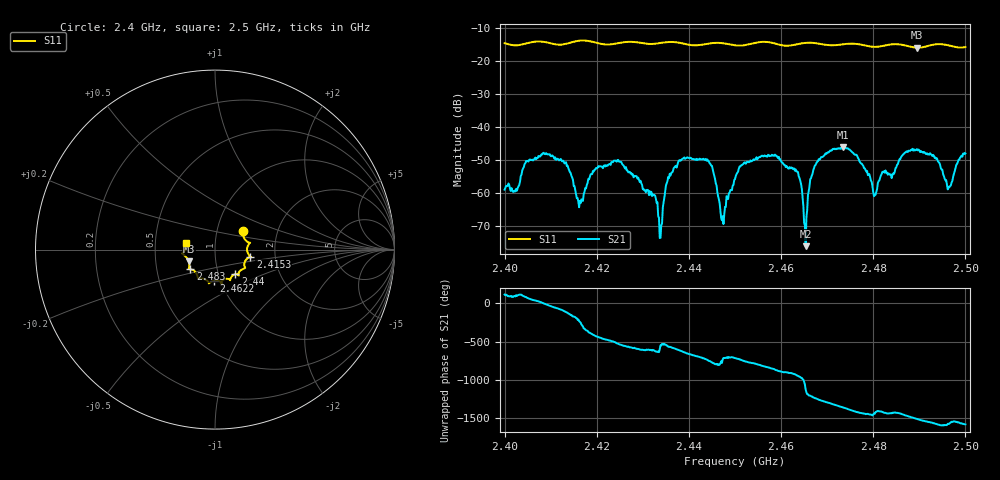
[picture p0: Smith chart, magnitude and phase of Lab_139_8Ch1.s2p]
# Hz S RI R 50
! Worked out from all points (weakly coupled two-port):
!   601 points, 2.4 GHz to 2.5 GHz, reference 50 ohm
!   highest |S21| = -46.08 dB at 2.4735 GHz (marker M1); lowest = -76.1 dB at 2.4653 GHz (marker M2)
!   lowest |S11| = -15.9 dB at 2.4895 GHz (marker M3), VSWR 1.38, Z = 37 - j5 ohm
!   |S11| at or under -10 dB: start of sweep to end of sweep
!   S12 and S22 are empty: the file has one direction only
!   S11 on the Smith chart (normalised r, x): 2.4 GHz: 1.33, +0.29; 2.4153 GHz: 1.48, -0.12; 2.44 GHz: 1.20, -0.34; 2.4622 GHz: 0.93, -0.33; 2.483 GHz: 0.74, -0.17; 2.5 GHz: 0.72, +0.06
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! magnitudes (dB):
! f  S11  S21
! 2.4 GHz  -14.5  -58.9
! 2.4088 GHz  -14.2  -48.2
! 2.4153 GHz  -14.0  -59.1
! 2.4167 GHz  -13.7  -61.8
! 2.4248 GHz  -14.4  -50.4
! 2.4333 GHz  -14.5  -67.0
! 2.4358 GHz  -14.2  -54.1
! 2.44 GHz  -15.0  -49.3
! 2.4445 GHz  -14.6  -50.9
! 2.4473 GHz  -14.5  -67.0
! 2.45 GHz  -15.1  -55.8
! 2.4622 GHz  -15.2  -52.2
! 2.464 GHz  -14.7  -55.4
! 2.4653 GHz  -14.4  -76.1
! 2.4667 GHz  -14.4  -54.6
! 2.4735 GHz  -14.8  -46.1
! 2.4803 GHz  -15.6  -60.6
! 2.483 GHz  -15.1  -53.7
! 2.4833 GHz  -15.0  -54.0
! 2.4895 GHz  -15.9  -46.6
! 2.4965 GHz  -15.2  -58.3
! 2.5 GHz  -15.7  -48.0
